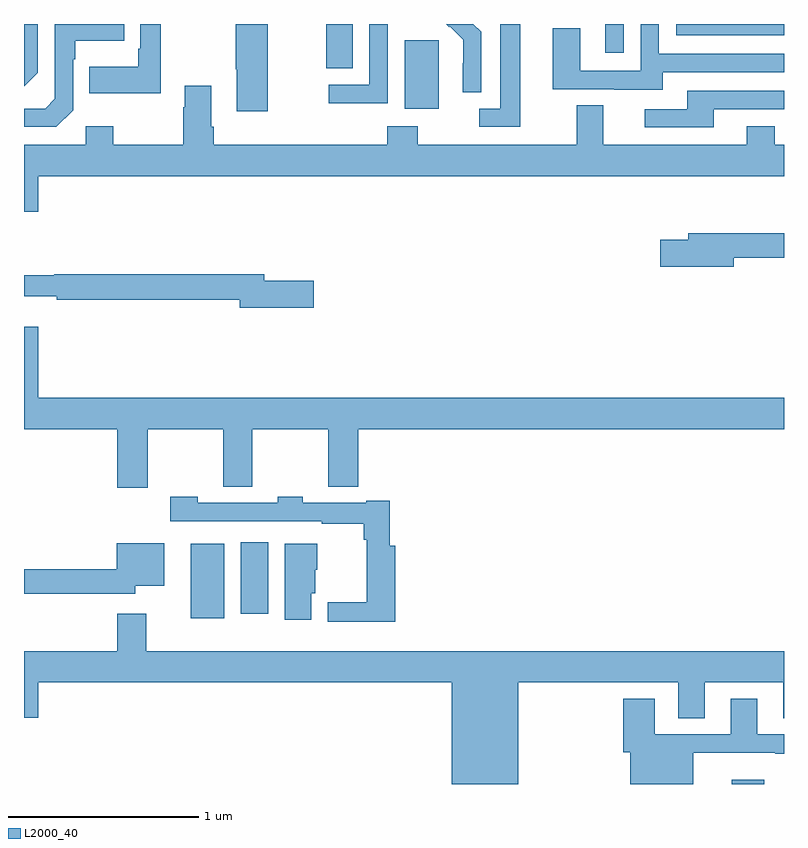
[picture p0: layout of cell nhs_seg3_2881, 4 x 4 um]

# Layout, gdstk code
import gdstk
lib = gdstk.Library(unit=1e-6, precision=1e-09)
def R(c, l, rs):  # rectangles x0, y0, x1, y1
    for r in rs: c.add(gdstk.rectangle(r[:2], r[2:], *l))
def P(c, l, *ps):  # polygons
    for p in ps: c.add(gdstk.Polygon(p, *l))
L2000_40 = (2000, 40)

nhs_seg3_2881 = lib.new_cell('nhs_seg3_2881')
R(nhs_seg3_2881, L2000_40, [(264.725,680.4,264.896,680.422), (261.878,681.272,262.054,681.664), (262.142,681.297,262.285,681.673), (263.003,683.954,263.182,684.315), (262.591,684.166,262.729,684.4), (264.059,684.249,264.156,684.4), (264.432,684.342,265,684.4)])
P(nhs_seg3_2881, L2000_40, [(263.611,684.4),(263.507,684.4),(263.507,683.955),(263.397,683.955),(263.397,683.859),(263.611,683.859)],
  [(263.406,684.358),(263.364,684.4),(263.222,684.4),(263.238,684.384),(263.241,684.387),(263.312,684.317),(263.312,684.194),(263.31,684.194),(263.31,684.04),(263.406,684.04)],
  [(261.258,683.946),(261.258,684.215),(261.271,684.215),(261.271,684.311),(261.527,684.311),(261.527,684.4),(261.162,684.4),(261.162,684.006),(261.111,683.955),(261,683.955),(261,683.859),(261.171,683.859)],
  [(262.284,684.4),(262.114,684.4),(262.114,684.163),(262.121,684.163),(262.121,683.94),(262.284,683.94)],
  [(262.914,684.4),(262.818,684.4),(262.818,684.081),(262.605,684.081),(262.605,683.983),(262.914,683.983)],
  [(261.072,684.144),(261.072,684.4),(261,684.4),(261,684.072)],
  [(261.721,684.4),(261.612,684.4),(261.612,684.271),(261.6,684.271),(261.6,684.175),(261.343,684.175),(261.343,684.035),(261.721,684.035)],
  [(264.361,684.147),(265,684.147),(265,684.243),(264.342,684.243),(264.342,684.4),(264.246,684.4),(264.246,684.153),(263.928,684.153),(263.928,684.377),(263.783,684.377),(263.783,684.057),(264.107,684.057),(264.107,684.053),(264.361,684.053)],
  [(261.076,683.6),(265,683.6),(265,683.764),(264.951,683.764),(264.951,683.863),(264.803,683.863),(264.803,683.764),(264.049,683.764),(264.049,683.972),(263.909,683.972),(263.909,683.764),(263.073,683.764),(263.073,683.863),(262.913,683.863),(262.913,683.764),(261.998,683.764),(261.998,683.86),(261.985,683.86),(261.985,684.076),(261.845,684.076),(261.845,683.963),(261.838,683.963),(261.838,683.764),(261.471,683.764),(261.471,683.863),(261.324,683.863),(261.324,683.764),(261,683.764),(261,683.412),(261.076,683.412)],
  [(264.631,683.952),(265,683.952),(265,684.048),(264.491,684.048),(264.491,683.952),(264.267,683.952),(264.267,683.856),(264.631,683.856)],
  [(264.736,683.17),(265,683.17),(265,683.299),(264.497,683.299),(264.497,683.265),(264.348,683.265),(264.348,683.123),(264.736,683.123)],
  [(262.525,683.048),(262.264,683.048),(262.264,683.084),(261.16,683.084),(261.16,683.077),(261,683.077),(261,682.967),(261.172,682.967),(261.172,682.948),(262.136,682.948),(262.136,682.906),(262.525,682.906)],
  [(261.651,682.268),(262.048,682.268),(262.048,681.964),(262.202,681.964),(262.202,682.268),(262.6,682.268),(262.6,681.964),(262.76,681.964),(262.76,682.268),(265,682.268),(265,682.432),(261.076,682.432),(261.076,682.807),(261,682.807),(261,682.268),(261.491,682.268),(261.491,681.96),(261.651,681.96)],
  [(262.955,681.655),(262.925,681.655),(262.925,681.892),(262.802,681.892),(262.802,681.879),(262.467,681.879),(262.467,681.912),(262.335,681.912),(262.335,681.879),(261.915,681.879),(261.915,681.912),(261.771,681.912),(261.771,681.783),(262.567,681.783),(262.567,681.771),(262.789,681.771),(262.789,681.686),(262.804,681.686),(262.804,681.356),(262.599,681.356),(262.599,681.254),(262.955,681.254)],
  [(261.586,681.443),(261.739,681.443),(261.739,681.667),(261.488,681.667),(261.488,681.53),(261,681.53),(261,681.402),(261.586,681.402)],
  [(262.513,681.405),(262.534,681.405),(262.534,681.528),(262.543,681.528),(262.543,681.664),(262.373,681.664),(262.373,681.264),(262.513,681.264)],
  [(263.602,680.936),(264.443,680.936),(264.443,680.746),(264.583,680.746),(264.583,680.936),(264.995,680.936),(264.995,680.746),(265,680.746),(265,681.1),(261.643,681.1),(261.643,681.295),(261.491,681.295),(261.491,681.1),(261,681.1),(261,680.748),(261.076,680.748),(261.076,680.936),(263.252,680.936),(263.252,680.4),(263.602,680.4)],
  [(264.523,680.564),(264.955,680.564),(264.955,680.56),(265,680.56),(265,680.661),(264.859,680.661),(264.859,680.848),(264.719,680.848),(264.719,680.661),(264.319,680.661),(264.319,680.848),(264.155,680.848),(264.155,680.568),(264.191,680.568),(264.191,680.4),(264.523,680.4)])

lib.write_gds('nhs_seg3_2881.gds')
